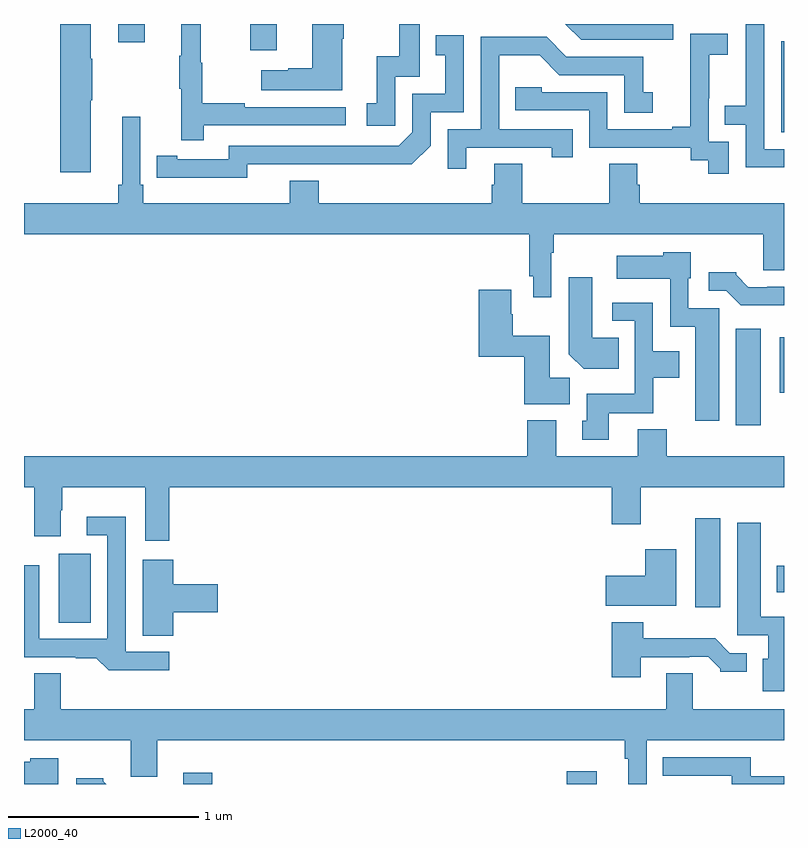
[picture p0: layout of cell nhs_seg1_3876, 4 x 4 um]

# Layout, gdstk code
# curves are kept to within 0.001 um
import gdstk
lib = gdstk.Library(unit=1e-6, precision=1e-09)
def R(c, l, rs):  # rectangles x0, y0, x1, y1
    for r in rs: c.add(gdstk.rectangle(r[:2], r[2:], *l))
def P(c, l, *ps):  # polygons
    for p in ps: c.add(gdstk.Polygon(p, *l))
L2000_40 = (2000, 40)

nhs_seg1_3876 = lib.new_cell('nhs_seg1_3876')
R(nhs_seg1_3876, L2000_40, [(323.837,522.199,323.99,522.259), (325.856,522.199,326.014,522.265), (323.183,523.048,323.35,523.411), (326.534,523.128,326.665,523.597), (326.963,523.208,327,523.348), (326.747,524.088,326.878,524.596), (326.978,524.258,327,524.551), (326.985,525.63,327,526.107), (324.191,526.062,324.331,526.199), (323.495,526.104,323.635,526.199)])
P(nhs_seg1_3876, L2000_40, [(324.676,526.121),(324.684,526.121),(324.684,526.199),(324.518,526.199),(324.518,525.965),(324.392,525.965),(324.392,525.955),(324.249,525.955),(324.249,525.851),(324.676,525.851)],
  [(323.35,525.799),(323.358,525.799),(323.358,526.016),(323.35,526.016),(323.35,526.199),(323.192,526.199),(323.192,525.42),(323.35,525.42)],
  [(323.945,525.666),(324.694,525.666),(324.694,525.762),(324.161,525.762),(324.161,525.782),(323.938,525.782),(323.938,525.996),(323.93,525.996),(323.93,526.199),(323.828,526.199),(323.828,526.033),(323.817,526.033),(323.817,525.859),(323.828,525.859),(323.828,525.588),(323.945,525.588)],
  [(327,525.54),(326.895,525.54),(326.895,526.199),(326.799,526.199),(326.799,525.77),(326.689,525.77),(326.689,525.669),(326.799,525.669),(326.799,525.444),(327,525.444)],
  [(326.418,526.199),(325.849,526.199),(325.932,526.116),(326.418,526.116)],
  [(324.954,525.921),(325.083,525.921),(325.083,526.199),(324.975,526.199),(324.975,526.03),(324.857,526.03),(324.857,525.783),(324.804,525.783),(324.804,525.663),(324.954,525.663)],
  [(326.709,525.579),(326.604,525.579),(326.604,525.809),(326.606,525.809),(326.606,526.037),(326.704,526.037),(326.704,526.147),(326.506,526.147),(326.506,525.941),(326.507,525.941),(326.507,525.658),(326.411,525.658),(326.411,525.645),(326.07,525.645),(326.07,525.84),(325.725,525.84),(325.725,525.867),(325.585,525.867),(325.585,525.744),(325.974,525.744),(325.974,525.549),(326.508,525.549),(326.508,525.481),(326.601,525.481),(326.601,525.411),(326.709,525.411)],
  [(324.174,525.462),(325.042,525.461),(325.14,525.558),(325.14,525.735),(325.314,525.735),(325.314,526.141),(325.168,526.141),(325.168,526.035),(325.217,526.035),(325.217,525.831),(325.044,525.831),(325.044,525.63),(324.972,525.558),(324.078,525.558),(324.078,525.486),(323.806,525.486),(323.806,525.506),(323.698,525.506),(323.698,525.39),(324.174,525.389)],
  [(325.327,525.549),(325.778,525.549),(325.778,525.498),(325.889,525.498),(325.889,525.645),(325.5,525.645),(325.5,526.034),(325.714,526.034),(325.818,525.93),(326.16,525.93),(326.16,525.732),(326.308,525.732),(326.308,525.841),(326.259,525.841),(326.259,526.026),(325.855,526.026),(325.75,526.131),(325.404,526.131),(325.404,525.645),(325.23,525.645),(325.23,525.438),(325.327,525.438)],
  [(325.66,524.872),(325.68,524.872),(325.68,524.76),(325.776,524.76),(325.776,524.996),(325.789,524.996),(325.789,525.092),(326.891,525.092),(326.891,524.902),(327,524.902),(327,525.256),(326.24,525.256),(326.24,525.354),(326.227,525.354),(326.227,525.464),(326.08,525.464),(326.08,525.256),(325.623,525.256),(325.623,525.464),(325.475,525.464),(325.475,525.354),(325.463,525.354),(325.463,525.256),(324.551,525.256),(324.551,525.373),(324.398,525.373),(324.398,525.256),(323.627,525.256),(323.627,525.352),(323.613,525.352),(323.613,525.712),(323.516,525.712),(323.516,525.352),(323.497,525.352),(323.497,525.256),(323,525.256),(323,525.092),(325.66,525.092)],
  [(326.659,524.703),(326.496,524.703),(326.496,524.862),(326.509,524.862),(326.509,524.998),(326.364,524.998),(326.364,524.98),(326.121,524.98),(326.121,524.858),(326.4,524.858),(326.4,524.606),(326.534,524.606),(326.534,524.112),(326.659,524.112)],
  [(327,524.817),(326.911,524.817),(326.911,524.814),(326.812,524.814),(326.748,524.878),(326.748,524.893),(326.604,524.893),(326.604,524.796),(326.697,524.796),(326.773,524.72),(327,524.72)],
  [(326.129,524.548),(325.99,524.548),(325.99,524.866),(325.868,524.866),(325.868,524.462),(325.946,524.384),(326.129,524.384)],
  [(325.873,524.336),(325.768,524.336),(325.768,524.557),(325.572,524.557),(325.572,524.672),(325.564,524.672),(325.564,524.8),(325.394,524.8),(325.394,524.447),(325.634,524.447),(325.634,524.198),(325.873,524.198)],
  [(326.077,524.15),(326.313,524.15),(326.313,524.336),(326.449,524.336),(326.449,524.476),(326.31,524.476),(326.31,524.733),(326.097,524.733),(326.097,524.637),(326.214,524.637),(326.214,524.254),(325.961,524.254),(325.961,524.112),(325.937,524.112),(325.937,524.01),(326.077,524.01)],
  [(323.765,523.76),(326.093,523.76),(326.093,523.566),(326.245,523.566),(326.245,523.76),(327,523.76),(327,523.924),(326.384,523.924),(326.384,524.065),(326.231,524.065),(326.231,523.924),(325.801,523.924),(325.801,524.113),(325.649,524.113),(325.649,523.924),(323,523.924),(323,523.76),(323.054,523.76),(323.054,523.503),(323.194,523.503),(323.194,523.64),(323.202,523.64),(323.202,523.76),(323.639,523.76),(323.639,523.479),(323.765,523.479)],
  [(323.764,522.894),(323.535,522.894),(323.535,523.606),(323.331,523.606),(323.331,523.509),(323.439,523.509),(323.439,522.963),(323.079,522.963),(323.079,523.351),(323,523.351),(323,522.867),(323.273,522.867),(323.273,522.862),(323.381,522.862),(323.447,522.797),(323.764,522.797)],
  [(327,523.078),(326.878,523.078),(326.878,523.573),(326.753,523.573),(326.753,522.981),(326.916,522.981),(326.916,522.858),(326.888,522.858),(326.888,522.686),(327,522.686)],
  [(326.434,523.435),(326.27,523.435),(326.27,523.294),(326.061,523.294),(326.061,523.136),(326.434,523.136)],
  [(323.786,523.103),(324.019,523.103),(324.019,523.25),(323.786,523.25),(323.786,523.378),(323.624,523.378),(323.624,522.979),(323.786,522.979)],
  [(326.245,522.867),(326.501,522.867),(326.501,522.87),(326.6,522.87),(326.664,522.806),(326.664,522.791),(326.803,522.791),(326.803,522.888),(326.715,522.888),(326.637,522.967),(326.258,522.967),(326.258,523.051),(326.093,523.051),(326.093,522.762),(326.245,522.762)],
  [(326.277,522.428),(327,522.428),(327,522.592),(326.521,522.592),(326.521,522.782),(326.381,522.782),(326.381,522.592),(323.194,522.592),(323.194,522.782),(323.054,522.782),(323.054,522.592),(323,522.592),(323,522.428),(323.561,522.428),(323.561,522.238),(323.701,522.238),(323.701,522.428),(326.161,522.428),(326.161,522.332),(326.18,522.332),(326.18,522.199),(326.277,522.199)],
  [(327,522.24),(326.826,522.24),(326.826,522.339),(326.362,522.339),(326.362,522.243),(326.726,522.243),(326.726,522.199),(327,522.199)],
  [(323.179,522.334),(323.034,522.334),(323.034,522.316),(323,522.316),(323,522.199),(323.179,522.199)],
  [(323.418,522.214),(323.418,522.229),(323.274,522.229),(323.274,522.199),(323.433,522.199)])

lib.write_gds('nhs_seg1_3876.gds')
